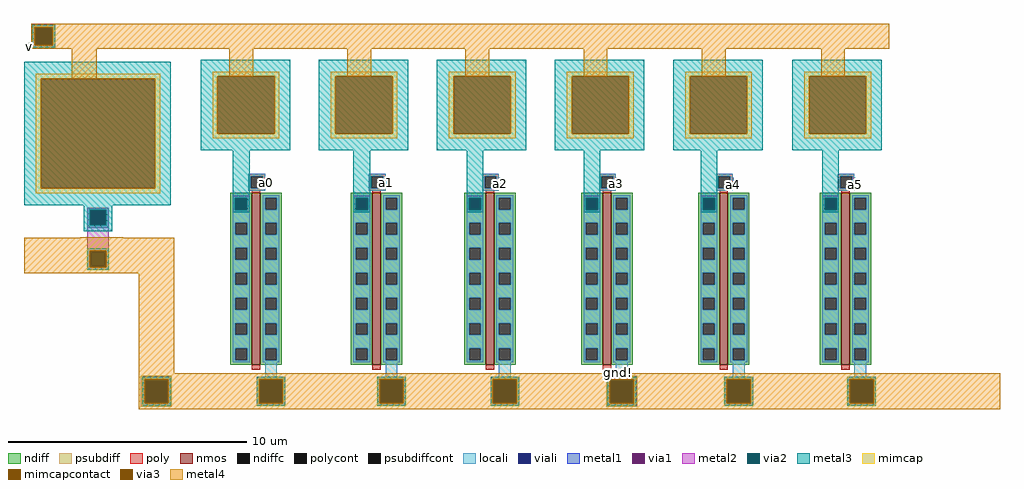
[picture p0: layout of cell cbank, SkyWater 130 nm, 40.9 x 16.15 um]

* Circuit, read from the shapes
.subckt cbank a0 a1 a2 a3 a4 a5 gnd! v
XM1 gnd! a0 switch_0/vin gnd! sky130_fd_pr__nfet_01v8 w=7.2 l=0.35
XM2 gnd! a1 switch_1/vin gnd! sky130_fd_pr__nfet_01v8 w=7.2 l=0.35
XM3 gnd! a2 switch_2/vin gnd! sky130_fd_pr__nfet_01v8 w=7.2 l=0.35
XM4 gnd! a3 switch_3/vin gnd! sky130_fd_pr__nfet_01v8 w=7.2 l=0.35
XM5 gnd! a4 switch_4/vin gnd! sky130_fd_pr__nfet_01v8 w=7.2 l=0.35
XM6 gnd! a5 switch_5/vin gnd! sky130_fd_pr__nfet_01v8 w=7.2 l=0.35
XC7 v gnd! sky130_fd_pr__cap_mim_m3_1 w=5.2 l=5
XC8 v switch_0/vin sky130_fd_pr__cap_mim_m3_1 w=2.8 l=2.8
XC9 v switch_1/vin sky130_fd_pr__cap_mim_m3_1 w=2.8 l=2.8
XC10 v switch_2/vin sky130_fd_pr__cap_mim_m3_1 w=2.8 l=2.8
XC11 v switch_3/vin sky130_fd_pr__cap_mim_m3_1 w=2.8 l=2.8
XC12 v switch_4/vin sky130_fd_pr__cap_mim_m3_1 w=2.8 l=2.8
XC13 v switch_5/vin sky130_fd_pr__cap_mim_m3_1 w=2.8 l=2.8
.ends

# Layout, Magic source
magic
tech sky130A
magscale 1 2
<< ndiff >>
rect 1720 -30 1860 110
rect 2730 92 2870 110
rect 2730 -8 2750 92
rect 2850 -8 2870 92
rect 2730 -30 2870 -8
rect 3680 92 3820 110
rect 3680 -8 3700 92
rect 3800 -8 3820 92
rect 3680 -30 3820 -8
rect 4660 92 4800 110
rect 4660 -8 4680 92
rect 4780 -8 4800 92
rect 4660 -30 4800 -8
rect 5640 92 5780 110
rect 5640 -8 5660 92
rect 5760 -8 5780 92
rect 5640 -30 5780 -8
rect 6660 92 6800 110
rect 6660 -8 6680 92
rect 6780 -8 6800 92
rect 6660 -30 6800 -8
<< ndiffc >>
rect 2750 -8 2850 92
rect 3700 -8 3800 92
rect 4680 -8 4780 92
rect 5660 -8 5760 92
rect 6680 -8 6780 92
<< psubdiff >>
rect 950 -1430 1210 -1400
rect 950 -1630 980 -1430
rect 1180 -1630 1210 -1430
rect 950 -1660 1210 -1630
rect 4850 -1430 5110 -1400
rect 4850 -1630 4880 -1430
rect 5080 -1630 5110 -1430
rect 4850 -1660 5110 -1630
<< psubdiffcont >>
rect 980 -1630 1180 -1430
rect 4880 -1630 5080 -1430
<< locali >>
rect 40 1520 230 1540
rect 40 1390 60 1520
rect 10 1370 60 1390
rect 210 1370 230 1520
rect 10 1350 230 1370
rect 1990 190 2000 260
rect 3000 190 3010 260
rect 3950 190 3960 260
rect 4930 190 4940 260
rect 5910 190 5920 260
rect 6930 190 6940 260
rect 1720 90 1860 110
rect 500 -10 680 10
rect 500 -140 520 -10
rect 660 -140 680 -10
rect 1720 -10 1740 90
rect 1840 -10 1860 90
rect 1720 -30 1860 -10
rect 2730 92 2870 110
rect 2730 -10 2750 92
rect 2850 -10 2870 92
rect 2730 -30 2870 -10
rect 3680 92 3820 110
rect 3680 -10 3700 92
rect 3800 -10 3820 92
rect 3680 -30 3820 -10
rect 4660 92 4800 110
rect 4660 -10 4680 92
rect 4780 -10 4800 92
rect 4660 -30 4800 -10
rect 5640 92 5780 110
rect 5640 -10 5660 92
rect 5760 -10 5780 92
rect 5640 -30 5780 -10
rect 6660 92 6800 110
rect 6660 -10 6680 92
rect 6780 -10 6800 92
rect 6660 -30 6800 -10
rect 500 -160 680 -140
rect 1990 -1410 2090 -1270
rect 3000 -1410 3100 -1280
rect 3950 -1410 4050 -1280
rect 4930 -1410 5030 -1280
rect 5910 -1410 6010 -1280
rect 6930 -1410 7030 -1280
rect 960 -1430 1200 -1410
rect 960 -1630 980 -1430
rect 1180 -1630 1200 -1430
rect 960 -1650 1200 -1630
rect 1920 -1430 2160 -1410
rect 1920 -1630 1940 -1430
rect 2140 -1630 2160 -1430
rect 1920 -1650 2160 -1630
rect 2930 -1430 3170 -1410
rect 2930 -1630 2950 -1430
rect 3150 -1630 3170 -1430
rect 2930 -1650 3170 -1630
rect 3880 -1430 4120 -1410
rect 3880 -1630 3900 -1430
rect 4100 -1630 4120 -1430
rect 3880 -1650 4120 -1630
rect 4860 -1430 5100 -1410
rect 4860 -1630 4880 -1430
rect 5080 -1630 5100 -1430
rect 4860 -1650 5100 -1630
rect 5840 -1430 6080 -1410
rect 5840 -1630 5860 -1430
rect 6060 -1630 6080 -1430
rect 5840 -1650 6080 -1630
rect 6870 -1430 7110 -1410
rect 6870 -1630 6890 -1430
rect 7090 -1630 7110 -1430
rect 6870 -1650 7110 -1630
<< viali >>
rect 60 1370 210 1520
rect 520 -140 660 -10
rect 1740 -10 1840 90
rect 2750 -8 2850 90
rect 2750 -10 2850 -8
rect 3700 -8 3800 90
rect 3700 -10 3800 -8
rect 4680 -8 4780 90
rect 4680 -10 4780 -8
rect 5660 -8 5760 90
rect 5660 -10 5760 -8
rect 6680 -8 6780 90
rect 6680 -10 6780 -8
rect 980 -1630 1180 -1430
rect 1940 -1630 2140 -1430
rect 2950 -1630 3150 -1430
rect 3900 -1630 4100 -1430
rect 4880 -1630 5080 -1430
rect 5860 -1630 6060 -1430
rect 6890 -1630 7090 -1430
<< metal1 >>
rect 40 1520 230 1540
rect 40 1370 60 1520
rect 210 1370 230 1520
rect 40 1350 230 1370
rect 1720 90 1860 110
rect 500 -10 680 10
rect 500 -140 520 -10
rect 660 -140 680 -10
rect 1720 -10 1740 90
rect 1840 -10 1860 90
rect 1720 -30 1860 -10
rect 2730 90 2870 110
rect 2730 -10 2750 90
rect 2850 -10 2870 90
rect 2730 -30 2870 -10
rect 3680 90 3820 110
rect 3680 -10 3700 90
rect 3800 -10 3820 90
rect 3680 -30 3820 -10
rect 4660 90 4800 110
rect 4660 -10 4680 90
rect 4780 -10 4800 90
rect 4660 -30 4800 -10
rect 5640 90 5780 110
rect 5640 -10 5660 90
rect 5760 -10 5780 90
rect 5640 -30 5780 -10
rect 6660 90 6800 110
rect 6660 -10 6680 90
rect 6780 -10 6800 90
rect 6660 -30 6800 -10
rect 500 -160 680 -140
rect 960 -1430 1200 -1410
rect 960 -1630 980 -1430
rect 1180 -1630 1200 -1430
rect 960 -1650 1200 -1630
rect 1920 -1430 2160 -1410
rect 1920 -1630 1940 -1430
rect 2140 -1630 2160 -1430
rect 1920 -1650 2160 -1630
rect 2930 -1430 3170 -1410
rect 2930 -1630 2950 -1430
rect 3150 -1630 3170 -1430
rect 2930 -1650 3170 -1630
rect 3880 -1430 4120 -1410
rect 3880 -1630 3900 -1430
rect 4100 -1630 4120 -1430
rect 3880 -1650 4120 -1630
rect 4860 -1430 5100 -1410
rect 4860 -1630 4880 -1430
rect 5080 -1630 5100 -1430
rect 4860 -1650 5100 -1630
rect 5840 -1430 6080 -1410
rect 5840 -1630 5860 -1430
rect 6060 -1630 6080 -1430
rect 5840 -1650 6080 -1630
rect 6870 -1430 7110 -1410
rect 6870 -1630 6890 -1430
rect 7090 -1630 7110 -1430
rect 6870 -1650 7110 -1630
<< via1 >>
rect 60 1370 210 1520
rect 520 -140 660 -10
rect 1740 -10 1840 90
rect 2750 -10 2850 90
rect 3700 -10 3800 90
rect 4680 -10 4780 90
rect 5660 -10 5760 90
rect 6680 -10 6780 90
rect 980 -1630 1180 -1430
rect 1940 -1630 2140 -1430
rect 2950 -1630 3150 -1430
rect 3900 -1630 4100 -1430
rect 4880 -1630 5080 -1430
rect 5860 -1630 6060 -1430
rect 6890 -1630 7090 -1430
<< metal2 >>
rect 40 1520 230 1540
rect 40 1370 60 1520
rect 210 1370 230 1520
rect 40 1350 230 1370
rect 1720 90 1860 110
rect 500 -10 680 10
rect 500 -140 520 -10
rect 660 -140 680 -10
rect 1720 -10 1740 90
rect 1840 -10 1860 90
rect 1720 -30 1860 -10
rect 2730 90 2870 110
rect 2730 -10 2750 90
rect 2850 -10 2870 90
rect 2730 -30 2870 -10
rect 3680 90 3820 110
rect 3680 -10 3700 90
rect 3800 -10 3820 90
rect 3680 -30 3820 -10
rect 4660 90 4800 110
rect 4660 -10 4680 90
rect 4780 -10 4800 90
rect 4660 -30 4800 -10
rect 5640 90 5780 110
rect 5640 -10 5660 90
rect 5760 -10 5780 90
rect 5640 -30 5780 -10
rect 6660 90 6800 110
rect 6660 -10 6680 90
rect 6780 -10 6800 90
rect 6660 -30 6800 -10
rect 500 -350 680 -140
rect 500 -490 520 -350
rect 660 -490 680 -350
rect 500 -510 680 -490
rect 960 -1430 1200 -1410
rect 960 -1630 980 -1430
rect 1180 -1630 1200 -1430
rect 960 -1650 1200 -1630
rect 1920 -1430 2160 -1410
rect 1920 -1630 1940 -1430
rect 2140 -1630 2160 -1430
rect 1920 -1650 2160 -1630
rect 2930 -1430 3170 -1410
rect 2930 -1630 2950 -1430
rect 3150 -1630 3170 -1430
rect 2930 -1650 3170 -1630
rect 3880 -1430 4120 -1410
rect 3880 -1630 3900 -1430
rect 4100 -1630 4120 -1430
rect 3880 -1650 4120 -1630
rect 4860 -1430 5100 -1410
rect 4860 -1630 4880 -1430
rect 5080 -1630 5100 -1430
rect 4860 -1650 5100 -1630
rect 5840 -1430 6080 -1410
rect 5840 -1630 5860 -1430
rect 6060 -1630 6080 -1430
rect 5840 -1650 6080 -1630
rect 6870 -1430 7110 -1410
rect 6870 -1630 6890 -1430
rect 7090 -1630 7110 -1430
rect 6870 -1650 7110 -1630
<< via2 >>
rect 60 1370 210 1520
rect 520 -140 660 -10
rect 1740 -10 1840 90
rect 2750 -10 2850 90
rect 3700 -10 3800 90
rect 4680 -10 4780 90
rect 5660 -10 5760 90
rect 6680 -10 6780 90
rect 520 -490 660 -350
rect 980 -1630 1180 -1430
rect 1940 -1630 2140 -1430
rect 2950 -1630 3150 -1430
rect 3900 -1630 4100 -1430
rect 4880 -1630 5080 -1430
rect 5860 -1630 6060 -1430
rect 6890 -1630 7090 -1430
<< metal3 >>
rect 40 1520 230 1540
rect 40 1370 60 1520
rect 210 1370 230 1520
rect 40 1350 230 1370
rect -30 30 1200 1230
rect 1450 490 2200 1250
rect 2440 490 3190 1250
rect 3430 490 4180 1250
rect 4420 490 5170 1250
rect 5410 490 6160 1250
rect 6410 490 7160 1250
rect 1720 90 1860 490
rect 470 -10 710 30
rect 470 -140 520 -10
rect 660 -140 710 -10
rect 1720 -10 1740 90
rect 1840 -10 1860 90
rect 1720 -30 1860 -10
rect 2730 90 2870 490
rect 2730 -10 2750 90
rect 2850 -10 2870 90
rect 2730 -30 2870 -10
rect 3680 90 3820 490
rect 3680 -10 3700 90
rect 3800 -10 3820 90
rect 3680 -30 3820 -10
rect 4660 90 4800 490
rect 4660 -10 4680 90
rect 4780 -10 4800 90
rect 4660 -30 4800 -10
rect 5640 90 5780 490
rect 5640 -10 5660 90
rect 5760 -10 5780 90
rect 5640 -30 5780 -10
rect 6660 90 6800 490
rect 6660 -10 6680 90
rect 6780 -10 6800 90
rect 6660 -30 6800 -10
rect 470 -190 710 -140
rect 500 -350 680 -330
rect 500 -490 520 -350
rect 660 -490 680 -350
rect 500 -510 680 -490
rect 960 -1430 1200 -1410
rect 960 -1630 980 -1430
rect 1180 -1630 1200 -1430
rect 960 -1650 1200 -1630
rect 1920 -1430 2160 -1410
rect 1920 -1630 1940 -1430
rect 2140 -1630 2160 -1430
rect 1920 -1650 2160 -1630
rect 2930 -1430 3170 -1410
rect 2930 -1630 2950 -1430
rect 3150 -1630 3170 -1430
rect 2930 -1650 3170 -1630
rect 3880 -1430 4120 -1410
rect 3880 -1630 3900 -1430
rect 4100 -1630 4120 -1430
rect 3880 -1650 4120 -1630
rect 4860 -1430 5100 -1410
rect 4860 -1630 4880 -1430
rect 5080 -1630 5100 -1430
rect 4860 -1650 5100 -1630
rect 5840 -1430 6080 -1410
rect 5840 -1630 5860 -1430
rect 6060 -1630 6080 -1430
rect 5840 -1650 6080 -1630
rect 6870 -1430 7110 -1410
rect 6870 -1630 6890 -1430
rect 7090 -1630 7110 -1430
rect 6870 -1650 7110 -1630
<< via3 >>
rect 60 1370 210 1520
rect 520 -490 660 -350
rect 980 -1630 1180 -1430
rect 1940 -1630 2140 -1430
rect 2950 -1630 3150 -1430
rect 3900 -1630 4100 -1430
rect 4880 -1630 5080 -1430
rect 5860 -1630 6060 -1430
rect 6890 -1630 7090 -1430
<< mimcap >>
rect 70 1090 1110 1130
rect 70 170 110 1090
rect 1070 170 1110 1090
rect 1550 1110 2110 1150
rect 1550 630 1590 1110
rect 2070 630 2110 1110
rect 1550 590 2110 630
rect 2540 1110 3100 1150
rect 2540 630 2580 1110
rect 3060 630 3100 1110
rect 2540 590 3100 630
rect 3530 1110 4090 1150
rect 3530 630 3570 1110
rect 4050 630 4090 1110
rect 3530 590 4090 630
rect 4520 1110 5080 1150
rect 4520 630 4560 1110
rect 5040 630 5080 1110
rect 4520 590 5080 630
rect 5510 1110 6070 1150
rect 5510 630 5550 1110
rect 6030 630 6070 1110
rect 5510 590 6070 630
rect 6510 1110 7070 1150
rect 6510 630 6550 1110
rect 7030 630 7070 1110
rect 6510 590 7070 630
rect 70 130 1110 170
<< mimcapcontact >>
rect 110 170 1070 1090
rect 1590 630 2070 1110
rect 2580 630 3060 1110
rect 3570 630 4050 1110
rect 4560 630 5040 1110
rect 5550 630 6030 1110
rect 6550 630 7030 1110
<< metal4 >>
rect 30 1520 7220 1550
rect 30 1370 60 1520
rect 210 1370 7220 1520
rect 30 1340 7220 1370
rect 370 1091 580 1340
rect 1690 1111 1890 1340
rect 2680 1111 2880 1340
rect 3670 1111 3870 1340
rect 4660 1111 4860 1340
rect 5650 1111 5850 1340
rect 6650 1111 6850 1340
rect 1589 1110 2071 1111
rect 109 1090 1071 1091
rect 109 170 110 1090
rect 1070 170 1071 1090
rect 1589 630 1590 1110
rect 2070 630 2071 1110
rect 1589 629 2071 630
rect 2579 1110 3061 1111
rect 2579 630 2580 1110
rect 3060 630 3061 1110
rect 2579 629 3061 630
rect 3569 1110 4051 1111
rect 3569 630 3570 1110
rect 4050 630 4051 1110
rect 3569 629 4051 630
rect 4559 1110 5041 1111
rect 4559 630 4560 1110
rect 5040 630 5041 1110
rect 4559 629 5041 630
rect 5549 1110 6031 1111
rect 5549 630 5550 1110
rect 6030 630 6031 1110
rect 5549 629 6031 630
rect 6549 1110 7031 1111
rect 6549 630 6550 1110
rect 7030 630 7031 1110
rect 6549 629 7031 630
rect 109 169 1071 170
rect 440 -242 800 -240
rect -30 -350 1230 -242
rect -30 -490 520 -350
rect 660 -490 1230 -350
rect -30 -540 1230 -490
rect -30 -542 440 -540
rect 760 -542 1230 -540
rect 930 -1380 1230 -542
rect 930 -1430 8150 -1380
rect 930 -1630 980 -1430
rect 1180 -1630 1940 -1430
rect 2140 -1630 2950 -1430
rect 3150 -1630 3900 -1430
rect 4100 -1630 4880 -1430
rect 5080 -1630 5860 -1430
rect 6060 -1630 6890 -1430
rect 7090 -1630 8150 -1430
rect 930 -1680 8150 -1630
use switch  switch_0
transform 1 0 1890 0 1 -1308
box -190 -40 240 1600
use switch  switch_1
transform 1 0 2900 0 1 -1308
box -190 -40 240 1600
use switch  switch_2
transform 1 0 3850 0 1 -1308
box -190 -40 240 1600
use switch  switch_3
transform 1 0 4830 0 1 -1308
box -190 -40 240 1600
use switch  switch_4
transform 1 0 5810 0 1 -1308
box -190 -40 240 1600
use switch  switch_5
transform 1 0 6830 0 1 -1308
box -190 -40 240 1600
<< labels >>
rlabel locali 20 1360 20 1360 1 v
rlabel locali 2000 220 2000 220 1 a0
rlabel locali 3010 220 3010 220 1 a1
rlabel locali 3960 210 3960 210 1 a2
rlabel locali 4950 -1370 4951 -1370 1 gnd!
rlabel locali 4940 210 4940 210 1 a3
rlabel locali 5920 200 5920 200 1 a4
rlabel locali 6940 200 6940 200 1 a5
<< end >>

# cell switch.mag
magic
tech sky130A
<< nmos >>
rect -5 0 30 720
<< ndiff >>
rect -95 700 -5 720
rect -95 650 -75 700
rect -25 650 -5 700
rect -95 595 -5 650
rect -95 545 -75 595
rect -25 545 -5 595
rect -95 490 -5 545
rect -95 440 -75 490
rect -25 440 -5 490
rect -95 385 -5 440
rect -95 335 -75 385
rect -25 335 -5 385
rect -95 280 -5 335
rect -95 230 -75 280
rect -25 230 -5 280
rect -95 175 -5 230
rect -95 125 -75 175
rect -25 125 -5 175
rect -95 70 -5 125
rect -95 20 -75 70
rect -25 20 -5 70
rect -95 0 -5 20
rect 30 700 120 720
rect 30 650 50 700
rect 100 650 120 700
rect 30 595 120 650
rect 30 545 50 595
rect 100 545 120 595
rect 30 490 120 545
rect 30 440 50 490
rect 100 440 120 490
rect 30 385 120 440
rect 30 335 50 385
rect 100 335 120 385
rect 30 280 120 335
rect 30 230 50 280
rect 100 230 120 280
rect 30 175 120 230
rect 30 125 50 175
rect 100 125 120 175
rect 30 70 120 125
rect 30 20 50 70
rect 100 20 120 70
rect 30 0 120 20
<< ndiffc >>
rect -75 650 -25 700
rect -75 545 -25 595
rect -75 440 -25 490
rect -75 335 -25 385
rect -75 230 -25 280
rect -75 125 -25 175
rect -75 20 -25 70
rect 50 650 100 700
rect 50 545 100 595
rect 50 440 100 490
rect 50 335 100 385
rect 50 230 100 280
rect 50 125 100 175
rect 50 20 100 70
<< poly >>
rect -20 790 50 800
rect -20 740 -10 790
rect 40 740 50 790
rect -20 730 50 740
rect -5 720 30 730
rect -5 -20 30 0
<< polycont >>
rect -10 740 40 790
<< locali >>
rect -20 790 50 800
rect -20 740 -10 790
rect 40 740 50 790
rect -20 730 50 740
rect -85 700 -15 710
rect -85 650 -75 700
rect -25 650 -15 700
rect -85 595 -15 650
rect -85 545 -75 595
rect -25 545 -15 595
rect -85 490 -15 545
rect -85 440 -75 490
rect -25 440 -15 490
rect -85 385 -15 440
rect -85 335 -75 385
rect -25 335 -15 385
rect -85 280 -15 335
rect -85 230 -75 280
rect -25 230 -15 280
rect -85 175 -15 230
rect -85 125 -75 175
rect -25 125 -15 175
rect -85 70 -15 125
rect -85 20 -75 70
rect -25 20 -15 70
rect -85 10 -15 20
rect 40 700 110 710
rect 40 650 50 700
rect 100 650 110 700
rect 40 595 110 650
rect 40 545 50 595
rect 100 545 110 595
rect 40 490 110 545
rect 40 440 50 490
rect 100 440 110 490
rect 40 385 110 440
rect 40 335 50 385
rect 100 335 110 385
rect 40 280 110 335
rect 40 230 50 280
rect 100 230 110 280
rect 40 175 110 230
rect 40 125 50 175
rect 100 125 110 175
rect 40 70 110 125
rect 40 20 50 70
rect 100 20 110 70
rect 40 10 110 20
<< labels >>
rlabel locali 10 795 10 795 1 vcont
rlabel locali -75 705 -75 705 1 vin
rlabel locali 105 705 105 705 1 vout
<< end >>
